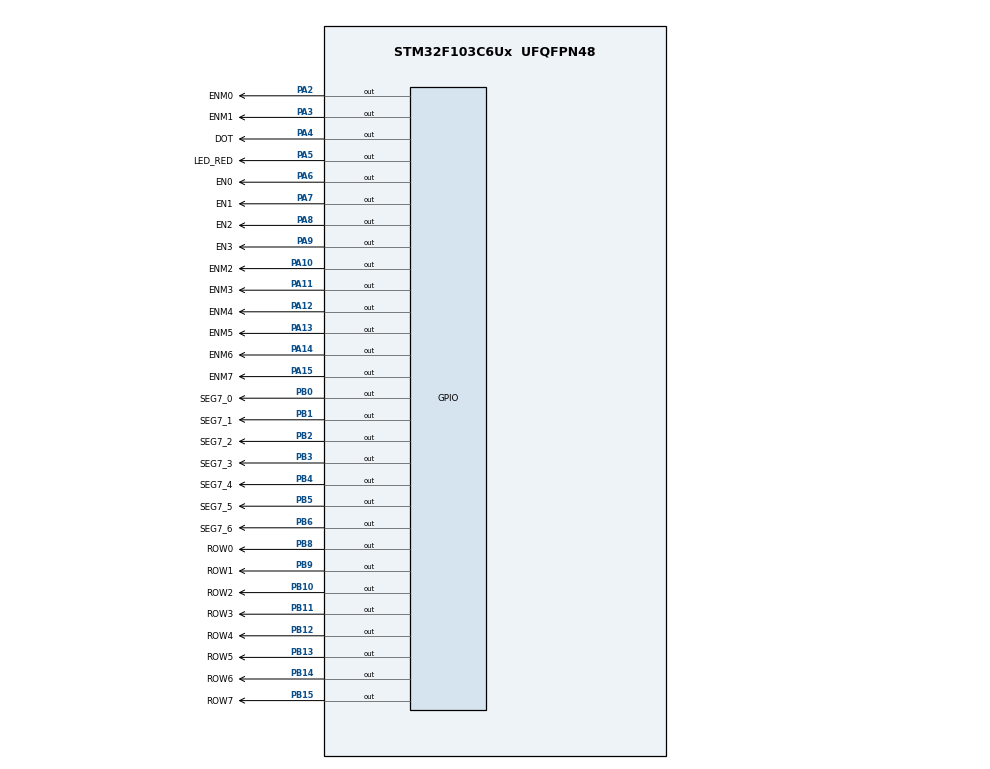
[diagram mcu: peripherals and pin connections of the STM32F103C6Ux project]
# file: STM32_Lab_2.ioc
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Mcu.Family=STM32F1
Mcu.Name=STM32F103C6Ux
Mcu.Package=UFQFPN48
NVIC.PriorityGroup=NVIC_PRIORITYGROUP_4
NVIC.TIM2_IRQn=true\:0\:0\:false\:false\:true\:true\:true
PA10.GPIO_Label=ENM2
PA10.Signal=GPIO_Output
PA11.GPIO_Label=ENM3
PA11.Signal=GPIO_Output
PA12.GPIO_Label=ENM4
PA12.Signal=GPIO_Output
PA13.GPIO_Label=ENM5
PA13.Signal=GPIO_Output
PA14.GPIO_Label=ENM6
PA14.Signal=GPIO_Output
PA15.GPIO_Label=ENM7
PA15.Signal=GPIO_Output
PA2.GPIO_Label=ENM0
PA2.Signal=GPIO_Output
PA3.GPIO_Label=ENM1
PA3.Signal=GPIO_Output
PA4.GPIO_Label=DOT
PA4.Signal=GPIO_Output
PA5.GPIO_Label=LED_RED
PA5.Signal=GPIO_Output
PA6.GPIO_Label=EN0
PA6.Signal=GPIO_Output
PA7.GPIO_Label=EN1
PA7.Signal=GPIO_Output
PA8.GPIO_Label=EN2
PA8.Signal=GPIO_Output
PA9.GPIO_Label=EN3
PA9.Signal=GPIO_Output
PB0.GPIO_Label=SEG7_0
PB0.Signal=GPIO_Output
PB1.GPIO_Label=SEG7_1
PB1.Signal=GPIO_Output
PB10.GPIO_Label=ROW2
PB10.Signal=GPIO_Output
PB11.GPIO_Label=ROW3
PB11.Signal=GPIO_Output
PB12.GPIO_Label=ROW4
PB12.Signal=GPIO_Output
PB13.GPIO_Label=ROW5
PB13.Signal=GPIO_Output
PB14.GPIO_Label=ROW6
PB14.Signal=GPIO_Output
PB15.GPIO_Label=ROW7
PB15.Signal=GPIO_Output
PB2.GPIO_Label=SEG7_2
PB2.Signal=GPIO_Output
PB3.GPIO_Label=SEG7_3
PB3.Signal=GPIO_Output
PB4.GPIO_Label=SEG7_4
PB4.Signal=GPIO_Output
PB5.GPIO_Label=SEG7_5
PB5.Signal=GPIO_Output
PB6.GPIO_Label=SEG7_6
PB6.Signal=GPIO_Output
PB8.GPIO_Label=ROW0
PB8.Signal=GPIO_Output
PB9.GPIO_Label=ROW1
PB9.Signal=GPIO_Output
ProjectManager.HeapSize=0x200
ProjectManager.StackSize=0x400
ProjectManager.TargetToolchain=STM32CubeIDE
RCC.APB1Freq_Value=8000000
RCC.APB2Freq_Value=8000000
TIM2.Period=9
TIM2.Prescaler=7999
VP_SYS_VS_ND.Mode=No_Debug
VP_TIM2_VS_ClockSourceINT.Mode=Internal
board=custom

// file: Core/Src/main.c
/* USER CODE BEGIN Header */
/**
  ******************************************************************************
  * @file           : main.c
  * @brief          : Main program body
  ******************************************************************************
  * @attention
  *
  * <h2><center>&copy; Copyright (c) 2023 STMicroelectronics.
  * All rights reserved.</center></h2>
  *
  * This software component is licensed by ST under BSD 3-Clause license,
  * the "License"; You may not use this file except in compliance with the
  * License. You may obtain a copy of the License at:
  *                        opensource.org/licenses/BSD-3-Clause
  *
  ******************************************************************************
  */
/* USER CODE END Header */
#include "main.h"

/* USER CODE BEGIN Includes */
#include "software_timer.h"
/* USER CODE END Includes */

TIM_HandleTypeDef htim2;

void SystemClock_Config(void);
static void MX_TIM2_Init(void);
static void MX_GPIO_Init(void);
/* USER CODE BEGIN PFP */
int SEG[7] = {SEG7_0_Pin, SEG7_1_Pin, SEG7_2_Pin, SEG7_3_Pin,  SEG7_4_Pin,  SEG7_5_Pin,  SEG7_6_Pin};
void display7SEG(int num)
{
	switch(num){
	case 0:
		HAL_GPIO_WritePin(GPIOB, SEG[0] | SEG[1] | SEG[2] | SEG[3] | SEG[4] | SEG[5] | SEG[6], SET);
		HAL_GPIO_WritePin(GPIOB, SEG[0] | SEG[1] | SEG[2] | SEG[3] | SEG[4] | SEG[5], RESET);
		break;
	case 1:
		HAL_GPIO_WritePin(GPIOB, SEG[0] | SEG[1] | SEG[2] | SEG[3] | SEG[4] | SEG[5] | SEG[6], SET);
		HAL_GPIO_WritePin(GPIOB, SEG[1] | SEG[2], RESET);
		break;
	case 2:
		HAL_GPIO_WritePin(GPIOB, SEG[0] | SEG[1] | SEG[2] | SEG[3] | SEG[4] | SEG[5] | SEG[6], SET);
		HAL_GPIO_WritePin(GPIOB, SEG[0] | SEG[1] | SEG[3] | SEG[4]| SEG[6], RESET);
		break;
	case 3:
		HAL_GPIO_WritePin(GPIOB, SEG[0] | SEG[1] | SEG[2] | SEG[3] | SEG[4] | SEG[5] | SEG[6], SET);
		HAL_GPIO_WritePin(GPIOB, SEG[0] | SEG[1] | SEG[2] | SEG[3] | SEG[6], RESET);
		break;
	case 4:
		HAL_GPIO_WritePin(GPIOB, SEG[0] | SEG[1] | SEG[2] | SEG[3] | SEG[4] | SEG[5] | SEG[6], SET);
		HAL_GPIO_WritePin(GPIOB, SEG[0] | SEG[1] | SEG[2] | SEG[5] | SEG[6], RESET);
		break;
	case 5:
		HAL_GPIO_WritePin(GPIOB, SEG[0] | SEG[1] | SEG[2] | SEG[3] | SEG[4] | SEG[5] | SEG[6], SET);
		HAL_GPIO_WritePin(GPIOB, SEG[0] | SEG[2] | SEG[3] | SEG[5] | SEG[6], RESET);
		break;
	case 6:
		HAL_GPIO_WritePin(GPIOB, SEG[0] | SEG[1] | SEG[2] | SEG[3] | SEG[4] | SEG[5] | SEG[6], SET);
		HAL_GPIO_WritePin(GPIOB, SEG[0] | SEG[2] | SEG[3] | SEG[4] | SEG[5] | SEG[6], RESET);
		break;
	case 7:
		HAL_GPIO_WritePin(GPIOB, SEG[0] | SEG[1] | SEG[2] | SEG[3] | SEG[4] | SEG[5] | SEG[6], SET);
		HAL_GPIO_WritePin(GPIOB, SEG[0] | SEG[1] | SEG[2], RESET);
		break;
	case 8:
		HAL_GPIO_WritePin(GPIOB, SEG[0] | SEG[1] | SEG[2] | SEG[3] | SEG[4] | SEG[5] | SEG[6], RESET);
		break;
	case 9:
		HAL_GPIO_WritePin(GPIOB, SEG[0] | SEG[1] | SEG[2] | SEG[3] | SEG[4] | SEG[5] | SEG[6], SET);
		HAL_GPIO_WritePin(GPIOB, SEG[0] | SEG[1] | SEG[2] | SEG[3] | SEG[5] | SEG[6], RESET);
		break;
	default:
		break;
	}
}

const int MAX_LED = 4;
int index_led = 0;
int led_buffer[4] = {1, 2, 3, 4};
int hour = 15 , minute = 8 , second = 50;

void update7SEG(int index){
	switch(index){
		case 0:
			HAL_GPIO_WritePin(GPIOA, EN0_Pin | EN1_Pin | EN2_Pin | EN3_Pin, SET);
			HAL_GPIO_TogglePin(EN0_GPIO_Port, EN0_Pin);
			display7SEG(led_buffer[index]);
			break;
		case 1:
			HAL_GPIO_WritePin(GPIOA, EN0_Pin | EN1_Pin | EN2_Pin | EN3_Pin, SET);
			HAL_GPIO_TogglePin(EN1_GPIO_Port, EN1_Pin);
			display7SEG(led_buffer[index]);
			break;
		case 2:
			HAL_GPIO_WritePin(GPIOA, EN0_Pin | EN1_Pin | EN2_Pin | EN3_Pin, SET);
			HAL_GPIO_TogglePin(EN2_GPIO_Port, EN2_Pin);
			display7SEG(led_buffer[index]);
			break;
		case 3:
			HAL_GPIO_WritePin(GPIOA, EN0_Pin | EN1_Pin | EN2_Pin | EN3_Pin, SET);
			HAL_GPIO_TogglePin(EN3_GPIO_Port, EN3_Pin);
			display7SEG(led_buffer[index]);
			break;
		default:
			break;
	}
}

void updateClockBuffer(int hour, int minute){
	led_buffer[0] = hour / 10;
	led_buffer[1] = hour % 10;
	led_buffer[2] = minute / 10;
	led_buffer[3] = minute % 10;
}

const int MAX_LED_MATRIX = 8;
int index_led_matrix = 0;
uint8_t matrix_buffer[8] = {0x00, 0xFC, 0xFE, 0x33, 0x33, 0xFE, 0xFC, 0x00};

void updateLEDMatrix(int index){
    switch (index){
    	// each case corresponds to a column of its value, with RESET means that column is turned on.
        case 0:
        	HAL_GPIO_WritePin(ENM0_GPIO_Port, ENM0_Pin, RESET);
        	HAL_GPIO_WritePin(GPIOA, ENM1_Pin | ENM2_Pin | ENM3_Pin | ENM4_Pin | ENM5_Pin | ENM6_Pin | ENM7_Pin, SET);
        	displayLEDMatrix(matrix_buffer[index]);
            break;
        case 1:
        	HAL_GPIO_WritePin(ENM1_GPIO_Port, ENM1_Pin, RESET);
        	HAL_GPIO_WritePin(GPIOA, ENM0_Pin | ENM2_Pin | ENM3_Pin | ENM4_Pin | ENM5_Pin | ENM6_Pin | ENM7_Pin, SET);
        	displayLEDMatrix(matrix_buffer[index]);
            break;
        case 2:
        	HAL_GPIO_WritePin(ENM2_GPIO_Port, ENM2_Pin, RESET);
        	HAL_GPIO_WritePin(GPIOA, ENM0_Pin | ENM1_Pin | ENM3_Pin | ENM4_Pin | ENM5_Pin | ENM6_Pin | ENM7_Pin, SET);
        	displayLEDMatrix(matrix_buffer[index]);
            break;
        case 3:
        	HAL_GPIO_WritePin(ENM3_GPIO_Port, ENM3_Pin, RESET);
        	HAL_GPIO_WritePin(GPIOA, ENM0_Pin | ENM1_Pin | ENM2_Pin | ENM4_Pin | ENM5_Pin | ENM6_Pin | ENM7_Pin, SET);
        	displayLEDMatrix(matrix_buffer[index]);
            break;
        case 4:
        	HAL_GPIO_WritePin(ENM4_GPIO_Port, ENM4_Pin, RESET);
        	HAL_GPIO_WritePin(GPIOA, ENM0_Pin | ENM1_Pin | ENM2_Pin | ENM3_Pin | ENM5_Pin | ENM6_Pin | ENM7_Pin, SET);
        	displayLEDMatrix(matrix_buffer[index]);
            break;
        case 5:
        	HAL_GPIO_WritePin(ENM5_GPIO_Port, ENM5_Pin, RESET);
        	HAL_GPIO_WritePin(GPIOA, ENM0_Pin | ENM1_Pin | ENM2_Pin | ENM3_Pin | ENM4_Pin | ENM6_Pin | ENM7_Pin, SET);
        	displayLEDMatrix(matrix_buffer[index]);
            break;
        case 6:
        	HAL_GPIO_WritePin(ENM6_GPIO_Port, ENM6_Pin, RESET);
        	HAL_GPIO_WritePin(GPIOA, ENM0_Pin | ENM1_Pin | ENM2_Pin | ENM3_Pin | ENM4_Pin | ENM5_Pin | ENM7_Pin, SET);
        	displayLEDMatrix(matrix_buffer[index]);
            break;
        case 7:
        	HAL_GPIO_WritePin(ENM7_GPIO_Port, ENM7_Pin, RESET);
        	HAL_GPIO_WritePin(GPIOA, ENM0_Pin | ENM1_Pin | ENM2_Pin | ENM3_Pin | ENM4_Pin | ENM5_Pin | ENM6_Pin, SET);
        	displayLEDMatrix(matrix_buffer[index]);
            break;
        default:
            break;
    }
}

void displayLEDMatrix(uint8_t input){
	HAL_GPIO_WritePin(ROW0_GPIO_Port, ROW0_Pin, !(input >> 0 & 0x1));
	HAL_GPIO_WritePin(ROW1_GPIO_Port, ROW1_Pin, !(input >> 1 & 0x1));
	HAL_GPIO_WritePin(ROW2_GPIO_Port, ROW2_Pin, !(input >> 2 & 0x1));
	HAL_GPIO_WritePin(ROW3_GPIO_Port, ROW3_Pin, !(input >> 3 & 0x1));
	HAL_GPIO_WritePin(ROW4_GPIO_Port, ROW4_Pin, !(input >> 4 & 0x1));
	HAL_GPIO_WritePin(ROW5_GPIO_Port, ROW5_Pin, !(input >> 5 & 0x1));
	HAL_GPIO_WritePin(ROW6_GPIO_Port, ROW6_Pin, !(input >> 6 & 0x1));
	HAL_GPIO_WritePin(ROW7_GPIO_Port, ROW7_Pin, !(input >> 7 & 0x1));
}

void fixingArray(){
	// Transmit each element to the right
	uint8_t temp = matrix_buffer[7];
	matrix_buffer[7] = matrix_buffer[6];
	matrix_buffer[6] = matrix_buffer[5];
	matrix_buffer[5] = matrix_buffer[4];
	matrix_buffer[4] = matrix_buffer[3];
	matrix_buffer[3] = matrix_buffer[2];
	matrix_buffer[2] = matrix_buffer[1];
	matrix_buffer[1] = matrix_buffer[0];
	matrix_buffer[0] = temp;
}
/* USER CODE END PFP */

int main(void)
{

  /* MCU Configuration--------------------------------------------------------*/

  /* Reset of all peripherals, Initializes the Flash interface and the Systick. */
  HAL_Init();

  /* Configure the system clock */
  SystemClock_Config();

  /* Initialize all configured peripherals */
  MX_TIM2_Init();
  MX_GPIO_Init();
  /* USER CODE BEGIN 2 */
  HAL_TIM_Base_Start_IT(&htim2);
  int counter = 0;
  int start = 0;
  setTimer1(5);
  setTimer2(100);
  setTimer3(25);
  /* USER CODE END 2 */

  /* Infinite loop */
  /* USER CODE BEGIN WHILE */
  while (1)
  {
	  if(start == 0){
		  updateClockBuffer(hour, minute);
		  update7SEG(index_led++); // for not being delay 1 segment led
		  start = 1;
	  }
	  // Display matrix 8x8
	  if(timer1_flag == 1){
		setTimer1(5);
		// TODO
		if(index_led_matrix > 7) index_led_matrix = 0;
		updateLEDMatrix(index_led_matrix++);
		++counter;
		if(counter >= 9){
			counter = 0;
			fixingArray();
		}
	  }
	  // Update array
	  if(timer2_flag == 1){
		  setTimer2(100);
		  // TODO
		  second++;
		  if (second >= 60) {
			  second = 0;
			  minute++;
		  }
		  if(minute >= 60) {
			  minute = 0;
			  hour++;
		  }
		  if(hour >=24) {
			  hour = 0;
		  }
		  updateClockBuffer(hour, minute);
		  // Update DOT
		  HAL_GPIO_TogglePin(LED_RED_GPIO_Port, LED_RED_Pin);
		  HAL_GPIO_TogglePin(DOT_GPIO_Port, DOT_Pin);
	  }
	  // Update LEDs
	  if(timer3_flag == 1){
		  setTimer3(25);
		  // TODO
		  if(index_led > 3) index_led = 0;
		  update7SEG(index_led++);
	  }
  }
    /* USER CODE END WHILE */

  }

void SystemClock_Config(void)
{
  RCC_OscInitTypeDef RCC_OscInitStruct = {0};
  RCC_ClkInitTypeDef RCC_ClkInitStruct = {0};

  /** Initializes the RCC Oscillators according to the specified parameters
  * in the RCC_OscInitTypeDef structure.
  */
  RCC_OscInitStruct.OscillatorType = RCC_OSCILLATORTYPE_HSI;
  RCC_OscInitStruct.HSIState = RCC_HSI_ON;
  RCC_OscInitStruct.HSICalibrationValue = RCC_HSICALIBRATION_DEFAULT;
  RCC_OscInitStruct.PLL.PLLState = RCC_PLL_NONE;
  if (HAL_RCC_OscConfig(&RCC_OscInitStruct) != HAL_OK)
  {
    Error_Handler();
  }
  /** Initializes the CPU, AHB and APB buses clocks
  */
  RCC_ClkInitStruct.ClockType = RCC_CLOCKTYPE_HCLK|RCC_CLOCKTYPE_SYSCLK
                              |RCC_CLOCKTYPE_PCLK1|RCC_CLOCKTYPE_PCLK2;
  RCC_ClkInitStruct.SYSCLKSource = RCC_SYSCLKSOURCE_HSI;
  RCC_ClkInitStruct.AHBCLKDivider = RCC_SYSCLK_DIV1;
  RCC_ClkInitStruct.APB1CLKDivider = RCC_HCLK_DIV1;
  RCC_ClkInitStruct.APB2CLKDivider = RCC_HCLK_DIV1;

  if (HAL_RCC_ClockConfig(&RCC_ClkInitStruct, FLASH_LATENCY_0) != HAL_OK)
  {
    Error_Handler();
  }
}

static void MX_TIM2_Init(void)
{

  TIM_ClockConfigTypeDef sClockSourceConfig = {0};
  TIM_MasterConfigTypeDef sMasterConfig = {0};

  htim2.Instance = TIM2;
  htim2.Init.Prescaler = 7999;
  htim2.Init.CounterMode = TIM_COUNTERMODE_UP;
  htim2.Init.Period = 9;
  htim2.Init.ClockDivision = TIM_CLOCKDIVISION_DIV1;
  htim2.Init.AutoReloadPreload = TIM_AUTORELOAD_PRELOAD_DISABLE;
  if (HAL_TIM_Base_Init(&htim2) != HAL_OK)
  {
    Error_Handler();
  }
  sClockSourceConfig.ClockSource = TIM_CLOCKSOURCE_INTERNAL;
  if (HAL_TIM_ConfigClockSource(&htim2, &sClockSourceConfig) != HAL_OK)
  {
    Error_Handler();
  }
  sMasterConfig.MasterOutputTrigger = TIM_TRGO_RESET;
  sMasterConfig.MasterSlaveMode = TIM_MASTERSLAVEMODE_DISABLE;
  if (HAL_TIMEx_MasterConfigSynchronization(&htim2, &sMasterConfig) != HAL_OK)
  {
    Error_Handler();
  }

}

static void MX_GPIO_Init(void)
{
  GPIO_InitTypeDef GPIO_InitStruct = {0};

  /* GPIO Ports Clock Enable */
  __HAL_RCC_GPIOA_CLK_ENABLE();
  __HAL_RCC_GPIOB_CLK_ENABLE();

  /*Configure GPIO pin Output Level */
  HAL_GPIO_WritePin(GPIOA, ENM0_Pin|ENM1_Pin|DOT_Pin|LED_RED_Pin
                          |EN0_Pin|EN1_Pin|EN2_Pin|EN3_Pin
                          |ENM2_Pin|ENM3_Pin|ENM4_Pin|ENM5_Pin
                          |ENM6_Pin|ENM7_Pin, GPIO_PIN_RESET);

  /*Configure GPIO pin Output Level */
  HAL_GPIO_WritePin(GPIOB, SEG7_0_Pin|SEG7_1_Pin|SEG7_2_Pin|ROW2_Pin
                          |ROW3_Pin|ROW4_Pin|ROW5_Pin|ROW6_Pin
                          |ROW7_Pin|SEG7_3_Pin|SEG7_4_Pin|SEG7_5_Pin
                          |SEG7_6_Pin|ROW0_Pin|ROW1_Pin, GPIO_PIN_RESET);

  /*Configure GPIO pins : ENM0_Pin ENM1_Pin DOT_Pin LED_RED_Pin
                           EN0_Pin EN1_Pin EN2_Pin EN3_Pin
                           ENM2_Pin ENM3_Pin ENM4_Pin ENM5_Pin
                           ENM6_Pin ENM7_Pin */
  GPIO_InitStruct.Pin = ENM0_Pin|ENM1_Pin|DOT_Pin|LED_RED_Pin
                          |EN0_Pin|EN1_Pin|EN2_Pin|EN3_Pin
                          |ENM2_Pin|ENM3_Pin|ENM4_Pin|ENM5_Pin
                          |ENM6_Pin|ENM7_Pin;
  GPIO_InitStruct.Mode = GPIO_MODE_OUTPUT_PP;
  GPIO_InitStruct.Pull = GPIO_NOPULL;
  GPIO_InitStruct.Speed = GPIO_SPEED_FREQ_LOW;
  HAL_GPIO_Init(GPIOA, &GPIO_InitStruct);

  /*Configure GPIO pins : SEG7_0_Pin SEG7_1_Pin SEG7_2_Pin ROW2_Pin
                           ROW3_Pin ROW4_Pin ROW5_Pin ROW6_Pin
                           ROW7_Pin SEG7_3_Pin SEG7_4_Pin SEG7_5_Pin
                           SEG7_6_Pin ROW0_Pin ROW1_Pin */
  GPIO_InitStruct.Pin = SEG7_0_Pin|SEG7_1_Pin|SEG7_2_Pin|ROW2_Pin
                          |ROW3_Pin|ROW4_Pin|ROW5_Pin|ROW6_Pin
                          |ROW7_Pin|SEG7_3_Pin|SEG7_4_Pin|SEG7_5_Pin
                          |SEG7_6_Pin|ROW0_Pin|ROW1_Pin;
  GPIO_InitStruct.Mode = GPIO_MODE_OUTPUT_PP;
  GPIO_InitStruct.Pull = GPIO_NOPULL;
  GPIO_InitStruct.Speed = GPIO_SPEED_FREQ_LOW;
  HAL_GPIO_Init(GPIOB, &GPIO_InitStruct);

}

/* USER CODE BEGIN 4 */
void HAL_TIM_PeriodElapsedCallback(TIM_HandleTypeDef *htim){
	timerRun();
}
/* USER CODE END 4 */

void Error_Handler(void)
{
  __disable_irq();
  while (1)
  {
  }
}

/************************ (C) COPYRIGHT STMicroelectronics *****END OF FILE****/
